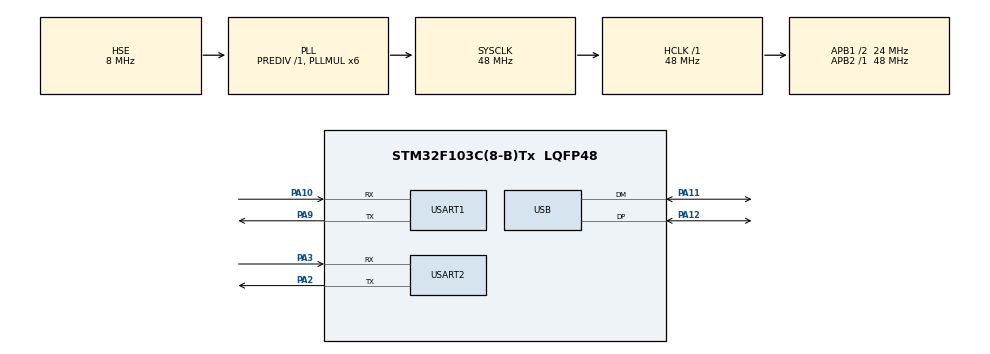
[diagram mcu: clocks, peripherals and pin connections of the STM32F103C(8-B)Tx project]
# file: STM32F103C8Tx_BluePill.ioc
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Mcu.Family=STM32F1
Mcu.Name=STM32F103C(8-B)Tx
Mcu.Package=LQFP48
NVIC.PriorityGroup=NVIC_PRIORITYGROUP_4
NVIC.USART1_IRQn=true\:0\:0\:false\:false\:true\:true\:true\:true
NVIC.USART2_IRQn=true\:0\:0\:false\:false\:true\:true\:true\:true
NVIC.USB_LP_CAN1_RX0_IRQn=true\:0\:0\:false\:false\:true\:false\:true\:true
PA10.Mode=Asynchronous
PA10.Signal=USART1_RX
PA11.Mode=Device
PA11.Signal=USB_DM
PA12.Mode=Device
PA12.Signal=USB_DP
PA13.Mode=Serial_Wire
PA13.Signal=SYS_JTMS-SWDIO
PA14.Mode=Serial_Wire
PA14.Signal=SYS_JTCK-SWCLK
PA2.Mode=Asynchronous
PA2.Signal=USART2_TX
PA3.Mode=Asynchronous
PA3.Signal=USART2_RX
PA9.Mode=Asynchronous
PA9.Signal=USART1_TX
PC14-OSC32_IN.Mode=LSE-External-Oscillator
PC14-OSC32_IN.Signal=RCC_OSC32_IN
PC15-OSC32_OUT.Mode=LSE-External-Oscillator
PC15-OSC32_OUT.Signal=RCC_OSC32_OUT
PD0-OSC_IN.Mode=HSE-External-Oscillator
PD0-OSC_IN.Signal=RCC_OSC_IN
PD1-OSC_OUT.Mode=HSE-External-Oscillator
PD1-OSC_OUT.Signal=RCC_OSC_OUT
ProjectManager.HeapSize=0x200
ProjectManager.StackSize=0x400
ProjectManager.TargetToolchain=MDK-ARM V5.32
RCC.AHBFreq_Value=48000000
RCC.APB1CLKDivider=RCC_HCLK_DIV2
RCC.APB1Freq_Value=24000000
RCC.APB1TimFreq_Value=48000000
RCC.APB2Freq_Value=48000000
RCC.APB2TimFreq_Value=48000000
RCC.HCLKFreq_Value=48000000
RCC.PLLMUL=RCC_PLL_MUL6
RCC.SYSCLKFreq_VALUE=48000000
RCC.SYSCLKSource=RCC_SYSCLKSOURCE_PLLCLK
RCC.USBFreq_Value=48000000
USART1.VirtualMode=VM_ASYNC
USART2.VirtualMode=VM_ASYNC
USB_DEVICE.CLASS_NAME_FS=CDC
USB_DEVICE.VirtualMode=Cdc
USB_DEVICE.VirtualModeFS=Cdc_FS
VP_USB_DEVICE_VS_USB_DEVICE_CDC_FS.Mode=CDC_FS
board=custom

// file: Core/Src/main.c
/* USER CODE BEGIN Header */
/**
  ******************************************************************************
  * @file           : main.c
  * @brief          : Main program body
  ******************************************************************************
  * @attention
  *
  * Copyright (c) 2024 STMicroelectronics.
  * All rights reserved.
  *
  * This software is licensed under terms that can be found in the LICENSE file
  * in the root directory of this software component.
  * If no LICENSE file comes with this software, it is provided AS-IS.
  *
  ******************************************************************************
  */
/* USER CODE END Header */
#include "main.h"
#include "usb_device.h"

/* USER CODE BEGIN Includes */
#include <stdio.h>
#include <stdlib.h>
#include <string.h>
#include "stm32c8t6_bluepill_board.h"
#include "user_include.h"
#include "uart_comm.h"
/* USER CODE END Includes */

/* USER CODE BEGIN PD */
#define WELCOME_MSG "Welcome to the Nucleo management console\r\n"
#define MAIN_MENU   "Select the option you are interested in:\r\n\t1. Toggle LD2 LED\r\n\t2. Read USER BUTTON status\r\n\t3. Clear screen and print this message "
#define PROMPT "\r\n> "
/* USER CODE END PD */

/* USER CODE BEGIN PM */
#define EDK_TEST (2)
/* USER CODE END PM */

UART_HandleTypeDef huart1; //PIN9,10
UART_HandleTypeDef huart2;

/* USER CODE BEGIN PV */
__IO ITStatus UartReady = SET;
char readBuf[1];

/* USER CODE END PV */

void SystemClock_Config(void);
static void MX_GPIO_Init(void);
static void MX_USART1_UART_Init(void);
static void MX_USART2_UART_Init(void);
/* USER CODE BEGIN PFP */
void edk_main_test(void);
/* USER CODE END PFP */

/* USER CODE BEGIN 0 */

int8_t readUserInput(void){
  int8_t retVal = -1;
  if(UartReady == SET){
    UartReady = RESET;
      // if(HAL_OK == HAL_UART_Receive_IT(&huart1, (uint8_t *)readBuf, 1)){
      //   retVal = atoi(readBuf);
      // }
    HAL_UART_Receive_IT(&huart1, (uint8_t*)readBuf, 1);
    retVal = atoi(readBuf);
  }
  return retVal;
}

HAL_StatusTypeDef UART_Transmit(UART_HandleTypeDef *huart, uint8_t *pData, uint16_t len){
  if(HAL_UART_Transmit_IT(huart, pData, len) != HAL_OK){
    if(RingBuffer_Write(&uart1_txBuf, pData, len) != RING_BUFFER_OK){
      return 0;
    }
  }
  return 1;
}

HAL_StatusTypeDef UART_Transmit2(UART_HandleTypeDef *huart, uint8_t *pData, uint16_t len){
  if(HAL_UART_Transmit_IT(huart, pData, len) != HAL_OK){
    if(RingBuffer_Write(&uart1_txBuf, pData, len) != RING_BUFFER_OK){
      return 0;
    }
  }
  return 1;
}

uint8_t processUserInput(int8_t opt) {
  char msg[30];

  if(!(opt >=1 && opt <= 3))
    return 0;

  sprintf(msg, "%d", opt);
  UART_Transmit(&huart1, (uint8_t*)msg, strlen(msg));

  switch(opt) {
  case 1:
    HAL_GPIO_TogglePin(LED_GPIO_Port, LED_Pin);
    break;
  case 2:
    sprintf(msg, "\r\nstatus: %s", HAL_GPIO_ReadPin(LED_GPIO_Port, LED_Pin) == GPIO_PIN_RESET ? "PRESSED" : "RELEASED");
    UART_Transmit(&huart1, (uint8_t*)msg, strlen(msg));
    break;
  case 3:
    return 2;
  };

  UART_Transmit(&huart1, (uint8_t*)PROMPT, strlen(PROMPT));
  return 1;
}

void printWelcomeMessage(void) {

#if 1

  const char *test = "test\n";
  for (uint8_t i = 0; i < 1; i++) {
    UART_Transmit(&huart1, (uint8_t*)test, strlen(test));
    while (HAL_UART_GetState(&huart1) == HAL_UART_STATE_BUSY_TX || HAL_UART_GetState(&huart1) == HAL_UART_STATE_BUSY_TX_RX);
  }
#else
  char *strings[] = {"\033[0;0H", "\033[2J", WELCOME_MSG, MAIN_MENU, PROMPT};

  for (uint8_t i = 0; i < 5; i++) {
    UART_Transmit(&huart1, (uint8_t*)strings[i], strlen(strings[i]));
    while (HAL_UART_GetState(&huart1) == HAL_UART_STATE_BUSY_TX || HAL_UART_GetState(&huart1) == HAL_UART_STATE_BUSY_TX_RX);
  }
#endif
}

void HAL_UART_RxCpltCallback(UART_HandleTypeDef *UartHandle) {
 /* Set transmission flag: transfer complete*/
 UartReady = SET;
}

void edk_main(void)
{
  HAL_GPIO_TogglePin(LED_GPIO_Port, LED_Pin);
  uart_comm_command();

/* usb virtual com port test*/

  uint8_t data[] = "edk usb cdc test\n";
  char cdcbuf[40];
  uint16_t count = 0;

  while(1)
  {
    sprintf(cdcbuf, "Count: %d\n", count++);
    while(CDC_Transmit_FS((uint8_t *)cdcbuf, strlen(cdcbuf)) == USBD_BUSY)
    {
      ;
    }

    HAL_Delay(1000);
  }

}
/* USER CODE END 0 */

int main(void)
{
  /* USER CODE BEGIN 1 */
  uint8_t opt = 0;
  /* USER CODE END 1 */

  /* MCU Configuration--------------------------------------------------------*/

  /* Reset of all peripherals, Initializes the Flash interface and the Systick. */
  HAL_Init();

  /* Configure the system clock */
  SystemClock_Config();

  /* Initialize all configured peripherals */
  MX_GPIO_Init();
  MX_USART1_UART_Init();
  MX_USART2_UART_Init();
  MX_USB_DEVICE_Init();
  /* USER CODE BEGIN 2 */
  //MX_USART1_UART_Init();
  //MX_USART2_UART_Init();
  /* Enable USART2 interrupt */
  HAL_NVIC_SetPriority(USART1_IRQn, 0, 0);
  HAL_NVIC_EnableIRQ(USART1_IRQn);

  RingBuffer_Init(&uart1_txBuf);
  RingBuffer_Init(&uart1_rxBuf);

  uart_comm_enable_RX_IT(&huart1, (uint8_t *)&uart1_rxBuf.buf, UART_INFINITE_EN_CNT);
  /* USER CODE END 2 */

  /* USER CODE BEGIN WHILE */
  while (1)
  {
    edk_main();
  }
  /* USER CODE END WHILE */
}

void SystemClock_Config(void)
{
  RCC_OscInitTypeDef RCC_OscInitStruct = {0};
  RCC_ClkInitTypeDef RCC_ClkInitStruct = {0};
  RCC_PeriphCLKInitTypeDef PeriphClkInit = {0};

  /** Initializes the RCC Oscillators according to the specified parameters
  * in the RCC_OscInitTypeDef structure.
  */
  RCC_OscInitStruct.OscillatorType = RCC_OSCILLATORTYPE_HSE;
  RCC_OscInitStruct.HSEState = RCC_HSE_ON;
  RCC_OscInitStruct.HSEPredivValue = RCC_HSE_PREDIV_DIV1;
  RCC_OscInitStruct.HSIState = RCC_HSI_ON;
  RCC_OscInitStruct.PLL.PLLState = RCC_PLL_ON;
  RCC_OscInitStruct.PLL.PLLSource = RCC_PLLSOURCE_HSE;
  RCC_OscInitStruct.PLL.PLLMUL = RCC_PLL_MUL6;
  if (HAL_RCC_OscConfig(&RCC_OscInitStruct) != HAL_OK)
  {
    Error_Handler();
  }

  /** Initializes the CPU, AHB and APB buses clocks
  */
  RCC_ClkInitStruct.ClockType = RCC_CLOCKTYPE_HCLK|RCC_CLOCKTYPE_SYSCLK
                              |RCC_CLOCKTYPE_PCLK1|RCC_CLOCKTYPE_PCLK2;
  RCC_ClkInitStruct.SYSCLKSource = RCC_SYSCLKSOURCE_PLLCLK;
  RCC_ClkInitStruct.AHBCLKDivider = RCC_SYSCLK_DIV1;
  RCC_ClkInitStruct.APB1CLKDivider = RCC_HCLK_DIV2;
  RCC_ClkInitStruct.APB2CLKDivider = RCC_HCLK_DIV1;

  if (HAL_RCC_ClockConfig(&RCC_ClkInitStruct, FLASH_LATENCY_1) != HAL_OK)
  {
    Error_Handler();
  }
  PeriphClkInit.PeriphClockSelection = RCC_PERIPHCLK_USB;
  PeriphClkInit.UsbClockSelection = RCC_USBCLKSOURCE_PLL;
  if (HAL_RCCEx_PeriphCLKConfig(&PeriphClkInit) != HAL_OK)
  {
    Error_Handler();
  }
}

static void MX_USART1_UART_Init(void)
{

  huart1.Instance = USART1;
  huart1.Init.BaudRate = 115200;
  huart1.Init.WordLength = UART_WORDLENGTH_8B;
  huart1.Init.StopBits = UART_STOPBITS_1;
  huart1.Init.Parity = UART_PARITY_NONE;
  huart1.Init.Mode = UART_MODE_TX_RX;
  huart1.Init.HwFlowCtl = UART_HWCONTROL_NONE;
  huart1.Init.OverSampling = UART_OVERSAMPLING_16;
  if (HAL_UART_Init(&huart1) != HAL_OK)
  {
    Error_Handler();
  }

}

static void MX_USART2_UART_Init(void)
{

  huart2.Instance = USART2;
  huart2.Init.BaudRate = 115200;
  huart2.Init.WordLength = UART_WORDLENGTH_8B;
  huart2.Init.StopBits = UART_STOPBITS_1;
  huart2.Init.Parity = UART_PARITY_NONE;
  huart2.Init.Mode = UART_MODE_TX_RX;
  huart2.Init.HwFlowCtl = UART_HWCONTROL_NONE;
  huart2.Init.OverSampling = UART_OVERSAMPLING_16;
  if (HAL_UART_Init(&huart2) != HAL_OK)
  {
    Error_Handler();
  }

}

static void MX_GPIO_Init(void)
{
/* USER CODE BEGIN MX_GPIO_Init_1 */
  GPIO_InitTypeDef GPIO_InitStruct;
  /*Configure GPIO pin : LD2_Pin */
  GPIO_InitStruct.Pin = LED_Pin;
  GPIO_InitStruct.Mode = GPIO_MODE_OUTPUT_PP;
  GPIO_InitStruct.Pull = GPIO_NOPULL;
  GPIO_InitStruct.Speed = GPIO_SPEED_LOW;
  HAL_GPIO_Init(LED_GPIO_Port, &GPIO_InitStruct);
  // HAL_GPIO_TogglePin(LED_GPIO_Port, LED_Pin);

/* USER CODE END MX_GPIO_Init_1 */

  /* GPIO Ports Clock Enable */
  __HAL_RCC_GPIOC_CLK_ENABLE();
  __HAL_RCC_GPIOD_CLK_ENABLE();
  __HAL_RCC_GPIOA_CLK_ENABLE();

}

void Error_Handler(void)
{
  __disable_irq();
  while (1)
  {
  }
}
